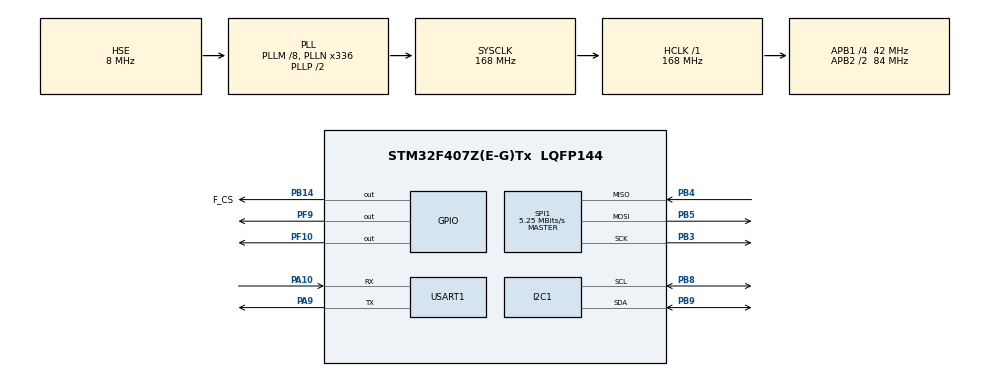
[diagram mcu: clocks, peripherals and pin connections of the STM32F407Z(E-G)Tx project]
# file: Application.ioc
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FREERTOS.Tasks01=defaultTask,24,512,StartDefaultTask,Default,NULL,Static,NULL,NULL
Mcu.Family=STM32F4
Mcu.Name=STM32F407Z(E-G)Tx
Mcu.Package=LQFP144
NVIC.PriorityGroup=NVIC_PRIORITYGROUP_4
NVIC.TIM7_IRQn=true\:0\:0\:true\:false\:true\:false\:false\:true\:true
NVIC.USART1_IRQn=true\:5\:0\:true\:false\:true\:true\:true\:true\:true
NVIC.TimeBase=TIM7_IRQn
NVIC.TimeBaseIP=TIM7
PA10.Mode=Asynchronous
PA10.Signal=USART1_RX
PA13.Mode=Serial_Wire
PA13.Signal=SYS_JTMS-SWDIO
PA14.Mode=Serial_Wire
PA14.Signal=SYS_JTCK-SWCLK
PA9.Mode=Asynchronous
PA9.Signal=USART1_TX
PB14.GPIO_Label=F_CS
PB14.GPIO_PuPd=GPIO_NOPULL
PB14.PinState=GPIO_PIN_SET
PB14.Signal=GPIO_Output
PB3.Mode=Full_Duplex_Master
PB3.Signal=SPI1_SCK
PB4.Mode=Full_Duplex_Master
PB4.Signal=SPI1_MISO
PB5.Mode=Full_Duplex_Master
PB5.Signal=SPI1_MOSI
PB8.Mode=I2C
PB8.Signal=I2C1_SCL
PB9.Mode=I2C
PB9.Signal=I2C1_SDA
PC14-OSC32_IN.Mode=LSE-External-Oscillator
PC14-OSC32_IN.Signal=RCC_OSC32_IN
PC15-OSC32_OUT.Mode=LSE-External-Oscillator
PC15-OSC32_OUT.Signal=RCC_OSC32_OUT
PF10.GPIO_PuPd=GPIO_PULLUP
PF10.Signal=GPIO_Output
PF9.GPIO_PuPd=GPIO_PULLUP
PF9.Signal=GPIO_Output
PH0-OSC_IN.Mode=HSE-External-Oscillator
PH0-OSC_IN.Signal=RCC_OSC_IN
PH1-OSC_OUT.Mode=HSE-External-Oscillator
PH1-OSC_OUT.Signal=RCC_OSC_OUT
ProjectManager.HeapSize=0x200
ProjectManager.StackSize=0x1000
ProjectManager.TargetToolchain=CMake
RCC.48MHZClocksFreq_Value=48000000
RCC.AHBFreq_Value=168000000
RCC.APB1CLKDivider=RCC_HCLK_DIV4
RCC.APB1Freq_Value=42000000
RCC.APB1TimFreq_Value=84000000
RCC.APB2CLKDivider=RCC_HCLK_DIV2
RCC.APB2Freq_Value=84000000
RCC.APB2TimFreq_Value=168000000
RCC.CortexFreq_Value=168000000
RCC.EnbaleCSS=true
RCC.HCLKFreq_Value=168000000
RCC.HSE_VALUE=8000000
RCC.HSI_VALUE=16000000
RCC.PLLM=8
RCC.PLLN=336
RCC.PLLQ=7
RCC.PLLSourceVirtual=RCC_PLLSOURCE_HSE
RCC.SYSCLKFreq_VALUE=168000000
RCC.SYSCLKSource=RCC_SYSCLKSOURCE_PLLCLK
RCC.VCOOutputFreq_Value=336000000
SPI1.BaudRatePrescaler=SPI_BAUDRATEPRESCALER_16
SPI1.CalculateBaudRate=5.25 MBits/s
SPI1.Direction=SPI_DIRECTION_2LINES
SPI1.Mode=SPI_MODE_MASTER
SPI1.VirtualType=VM_MASTER
USART1.VirtualMode=VM_ASYNC
VP_FREERTOS_VS_CMSIS_V2.Mode=CMSIS_V2
VP_SYS_VS_tim7.Mode=TIM7
board=custom

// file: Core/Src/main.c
/* USER CODE BEGIN Header */
/**
  ******************************************************************************
  * @file           : main.c
  * @brief          : Main program body
  ******************************************************************************
  * @attention
  *
  * Copyright (c) 2026 STMicroelectronics.
  * All rights reserved.
  *
  * This software is licensed under terms that can be found in the LICENSE file
  * in the root directory of this software component.
  * If no LICENSE file comes with this software, it is provided AS-IS.
  *
  ******************************************************************************
  */
/* USER CODE END Header */
#include "main.h"
#include "cmsis_os.h"

/* USER CODE BEGIN Includes */
#include "app_log.h"
#include "app_console.h"
#include "app_main.h"
#include "FreeRTOS.h"
#include "serial_manager.h"
#include "system_mode.h"
#include "task.h"
#include "update_session.h"

/* USER CODE END Includes */

I2C_HandleTypeDef hi2c1;

SPI_HandleTypeDef hspi1;

UART_HandleTypeDef huart1;

/* Definitions for defaultTask */
osThreadId_t defaultTaskHandle;
static StaticTask_t defaultTaskControlBlock;
static StackType_t defaultTaskStack[512];
const osThreadAttr_t defaultTask_attributes = {
  .name = "defaultTask",
  .cb_mem = &defaultTaskControlBlock,
  .cb_size = sizeof(defaultTaskControlBlock),
  .stack_mem = defaultTaskStack,
  .stack_size = sizeof(defaultTaskStack),
  .priority = (osPriority_t) osPriorityNormal,
};

void SystemClock_Config(void);
static void MX_GPIO_Init(void);
static void MX_USART1_UART_Init(void);
static void MX_SPI1_Init(void);
static void MX_I2C1_Init(void);
void StartDefaultTask(void *argument);

int main(void)
{

  /* USER CODE BEGIN 1 */

  /* The Bootloader deliberately hands off with PRIMASK set.  The Application
     owns the interrupt configuration from this point and must restore global
     interrupts before HAL_Init() starts the TIM7 HAL timebase. */
  __enable_irq();

  /* USER CODE END 1 */

  /* MCU Configuration--------------------------------------------------------*/

  /* Reset of all peripherals, Initializes the Flash interface and the Systick. */
  HAL_Init();

  /* Configure the system clock */
  SystemClock_Config();

  /* Initialize all configured peripherals */
  MX_GPIO_Init();
  MX_USART1_UART_Init();
  MX_SPI1_Init();
  MX_I2C1_Init();

  /* Init scheduler */
  osKernelInitialize();

  /* Create the thread(s) */
  /* creation of defaultTask */
  defaultTaskHandle = osThreadNew(StartDefaultTask, NULL, &defaultTask_attributes);

  /* USER CODE BEGIN RTOS_THREADS */
  /* add threads, ... */
  if (!serial_manager_init())
  {
    Error_Handler();
  }
  if (!system_mode_init())
  {
    Error_Handler();
  }
  if (!app_console_init())
  {
    Error_Handler();
  }
  if (!update_session_init())
  {
    Error_Handler();
  }
  /* USER CODE END RTOS_THREADS */

  /* Start scheduler */
  osKernelStart();

  /* We should never get here as control is now taken by the scheduler */

  /* Infinite loop */
  while (1)
  {

  }
}

void SystemClock_Config(void)
{
  RCC_OscInitTypeDef RCC_OscInitStruct = {0};
  RCC_ClkInitTypeDef RCC_ClkInitStruct = {0};

  /** Configure the main internal regulator output voltage
  */
  __HAL_RCC_PWR_CLK_ENABLE();
  __HAL_PWR_VOLTAGESCALING_CONFIG(PWR_REGULATOR_VOLTAGE_SCALE1);

  /** Initializes the RCC Oscillators according to the specified parameters
  * in the RCC_OscInitTypeDef structure.
  */
  RCC_OscInitStruct.OscillatorType = RCC_OSCILLATORTYPE_HSE;
  RCC_OscInitStruct.HSEState = RCC_HSE_ON;
  RCC_OscInitStruct.PLL.PLLState = RCC_PLL_ON;
  RCC_OscInitStruct.PLL.PLLSource = RCC_PLLSOURCE_HSE;
  RCC_OscInitStruct.PLL.PLLM = 8;
  RCC_OscInitStruct.PLL.PLLN = 336;
  RCC_OscInitStruct.PLL.PLLP = RCC_PLLP_DIV2;
  RCC_OscInitStruct.PLL.PLLQ = 7;
  if (HAL_RCC_OscConfig(&RCC_OscInitStruct) != HAL_OK)
  {
    Error_Handler();
  }

  /** Initializes the CPU, AHB and APB buses clocks
  */
  RCC_ClkInitStruct.ClockType = RCC_CLOCKTYPE_HCLK|RCC_CLOCKTYPE_SYSCLK
                              |RCC_CLOCKTYPE_PCLK1|RCC_CLOCKTYPE_PCLK2;
  RCC_ClkInitStruct.SYSCLKSource = RCC_SYSCLKSOURCE_PLLCLK;
  RCC_ClkInitStruct.AHBCLKDivider = RCC_SYSCLK_DIV1;
  RCC_ClkInitStruct.APB1CLKDivider = RCC_HCLK_DIV4;
  RCC_ClkInitStruct.APB2CLKDivider = RCC_HCLK_DIV2;

  if (HAL_RCC_ClockConfig(&RCC_ClkInitStruct, FLASH_LATENCY_5) != HAL_OK)
  {
    Error_Handler();
  }

  /** Enables the Clock Security System
  */
  HAL_RCC_EnableCSS();
}

static void MX_I2C1_Init(void)
{

  hi2c1.Instance = I2C1;
  hi2c1.Init.ClockSpeed = 100000;
  hi2c1.Init.DutyCycle = I2C_DUTYCYCLE_2;
  hi2c1.Init.OwnAddress1 = 0;
  hi2c1.Init.AddressingMode = I2C_ADDRESSINGMODE_7BIT;
  hi2c1.Init.DualAddressMode = I2C_DUALADDRESS_DISABLE;
  hi2c1.Init.OwnAddress2 = 0;
  hi2c1.Init.GeneralCallMode = I2C_GENERALCALL_DISABLE;
  hi2c1.Init.NoStretchMode = I2C_NOSTRETCH_DISABLE;
  if (HAL_I2C_Init(&hi2c1) != HAL_OK)
  {
    Error_Handler();
  }

}

static void MX_SPI1_Init(void)
{

  /* SPI1 parameter configuration*/
  hspi1.Instance = SPI1;
  hspi1.Init.Mode = SPI_MODE_MASTER;
  hspi1.Init.Direction = SPI_DIRECTION_2LINES;
  hspi1.Init.DataSize = SPI_DATASIZE_8BIT;
  hspi1.Init.CLKPolarity = SPI_POLARITY_LOW;
  hspi1.Init.CLKPhase = SPI_PHASE_1EDGE;
  hspi1.Init.NSS = SPI_NSS_SOFT;
  hspi1.Init.BaudRatePrescaler = SPI_BAUDRATEPRESCALER_16;
  hspi1.Init.FirstBit = SPI_FIRSTBIT_MSB;
  hspi1.Init.TIMode = SPI_TIMODE_DISABLE;
  hspi1.Init.CRCCalculation = SPI_CRCCALCULATION_DISABLE;
  hspi1.Init.CRCPolynomial = 10;
  if (HAL_SPI_Init(&hspi1) != HAL_OK)
  {
    Error_Handler();
  }

}

static void MX_USART1_UART_Init(void)
{

  huart1.Instance = USART1;
  huart1.Init.BaudRate = 115200;
  huart1.Init.WordLength = UART_WORDLENGTH_8B;
  huart1.Init.StopBits = UART_STOPBITS_1;
  huart1.Init.Parity = UART_PARITY_NONE;
  huart1.Init.Mode = UART_MODE_TX_RX;
  huart1.Init.HwFlowCtl = UART_HWCONTROL_NONE;
  huart1.Init.OverSampling = UART_OVERSAMPLING_16;
  if (HAL_UART_Init(&huart1) != HAL_OK)
  {
    Error_Handler();
  }

}

static void MX_GPIO_Init(void)
{
  GPIO_InitTypeDef GPIO_InitStruct = {0};

  /* GPIO Ports Clock Enable */
  __HAL_RCC_GPIOC_CLK_ENABLE();
  __HAL_RCC_GPIOF_CLK_ENABLE();
  __HAL_RCC_GPIOH_CLK_ENABLE();
  __HAL_RCC_GPIOB_CLK_ENABLE();
  __HAL_RCC_GPIOA_CLK_ENABLE();

  /*Configure GPIO pin Output Level */
  HAL_GPIO_WritePin(GPIOF, GPIO_PIN_9|GPIO_PIN_10, GPIO_PIN_RESET);

  /*Configure GPIO pin Output Level */
  HAL_GPIO_WritePin(F_CS_GPIO_Port, F_CS_Pin, GPIO_PIN_SET);

  /*Configure GPIO pins : PF9 PF10 */
  GPIO_InitStruct.Pin = GPIO_PIN_9|GPIO_PIN_10;
  GPIO_InitStruct.Mode = GPIO_MODE_OUTPUT_PP;
  GPIO_InitStruct.Pull = GPIO_PULLUP;
  GPIO_InitStruct.Speed = GPIO_SPEED_FREQ_LOW;
  HAL_GPIO_Init(GPIOF, &GPIO_InitStruct);

  /*Configure GPIO pin : F_CS_Pin */
  GPIO_InitStruct.Pin = F_CS_Pin;
  GPIO_InitStruct.Mode = GPIO_MODE_OUTPUT_PP;
  GPIO_InitStruct.Pull = GPIO_NOPULL;
  GPIO_InitStruct.Speed = GPIO_SPEED_FREQ_LOW;
  HAL_GPIO_Init(F_CS_GPIO_Port, &GPIO_InitStruct);

}

void StartDefaultTask(void *argument)
{
  /* USER CODE BEGIN 5 */
  app_main_init();
  app_main_task(argument);
  /* USER CODE END 5 */
}

void HAL_TIM_PeriodElapsedCallback(TIM_HandleTypeDef *htim)
{
  if (htim->Instance == TIM7) {
    HAL_IncTick();
  }
}

void Error_Handler(void)
{
  __disable_irq();
  while (1)
  {
  }
}
